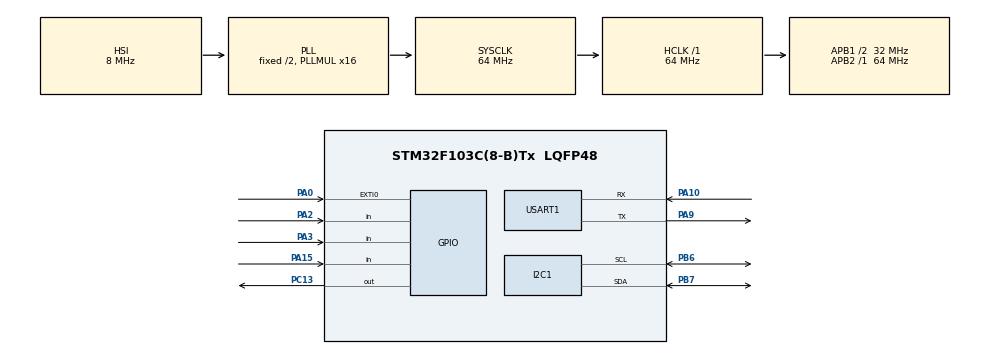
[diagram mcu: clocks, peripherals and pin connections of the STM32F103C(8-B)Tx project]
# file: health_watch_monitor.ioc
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FREERTOS.Mutexes01=i2cMutex,Dynamic,NULL,Available
FREERTOS.Tasks01=defaultTask,0,256,StartDefaultTask,Default,NULL,Dynamic,NULL,NULL;uiTask,0,512,StartTask02,Default,NULL,Dynamic,NULL,NULL;sensorTask,1,512,StartTask03,Default,NULL,Dynamic,NULL,NULL;bleTask,-1,512,StartTask04,Default,NULL,Dynamic,NULL,NULL;buttonTask,0,256,StartTask05,Default,NULL,Dynamic,NULL,NULL;powerTask,2,256,StartTask06,Default,NULL,Dynamic,NULL,NULL
FREERTOS.configMINIMAL_STACK_SIZE=256
FREERTOS.configTOTAL_HEAP_SIZE=16384
FREERTOS.configUSE_COUNTING_SEMAPHORES=1
FREERTOS.configUSE_TIMERS=1
Mcu.Family=STM32F1
Mcu.Name=STM32F103C(8-B)Tx
Mcu.Package=LQFP48
NVIC.EXTI0_IRQn=true\:5\:0\:false\:false\:true\:true\:true\:true\:true
NVIC.PriorityGroup=NVIC_PRIORITYGROUP_4
NVIC.TIM2_IRQn=true\:15\:0\:false\:false\:true\:false\:false\:true\:true
NVIC.TimeBase=TIM2_IRQn
NVIC.TimeBaseIP=TIM2
NVIC.USART1_IRQn=true\:5\:0\:false\:false\:true\:true\:true\:true\:true
PA0-WKUP.GPIO_ModeDefaultEXTI=GPIO_MODE_IT_FALLING
PA0-WKUP.GPIO_PuPd=GPIO_PULLUP
PA0-WKUP.Signal=GPXTI0
PA10.Mode=Asynchronous
PA10.Signal=USART1_RX
PA13.Mode=Serial_Wire
PA13.Signal=SYS_JTMS-SWDIO
PA14.Mode=Serial_Wire
PA14.Signal=SYS_JTCK-SWCLK
PA15.GPIO_PuPd=GPIO_PULLUP
PA15.Signal=GPIO_Input
PA2.GPIO_PuPd=GPIO_PULLUP
PA2.Signal=GPIO_Input
PA3.GPIO_PuPd=GPIO_PULLUP
PA3.Signal=GPIO_Input
PA9.Mode=Asynchronous
PA9.Signal=USART1_TX
PB6.Mode=I2C
PB6.Signal=I2C1_SCL
PB7.Mode=I2C
PB7.Signal=I2C1_SDA
PC13-TAMPER-RTC.Signal=GPIO_Output
ProjectManager.HeapSize=0x200
ProjectManager.StackSize=0x400
ProjectManager.TargetToolchain=STM32CubeIDE
RCC.AHBFreq_Value=64000000
RCC.APB1CLKDivider=RCC_HCLK_DIV2
RCC.APB1Freq_Value=32000000
RCC.APB1TimFreq_Value=64000000
RCC.APB2Freq_Value=64000000
RCC.APB2TimFreq_Value=64000000
RCC.HCLKFreq_Value=64000000
RCC.PLLMUL=RCC_PLL_MUL16
RCC.SYSCLKFreq_VALUE=64000000
RCC.SYSCLKSource=RCC_SYSCLKSOURCE_PLLCLK
RCC.USBFreq_Value=64000000
USART1.VirtualMode=VM_ASYNC
VP_FREERTOS_VS_CMSIS_V1.Mode=CMSIS_V1
VP_SYS_VS_tim2.Mode=TIM2
board=custom

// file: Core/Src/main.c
/* main.c — FreeRTOS task startup, peripheral init, battery reading */
#include "main.h"
#include "cmsis_os.h"
#include "task.h"

#include "sensor_data.h"
#include "button.h"
#include "ui_menu.h"
#include "power_manager.h"
#include "jdy31.h"
#include "mpu6050.h"
#include "max30102.h"
#include "heart_rate.h"
#include "spo2.h"
#include "step_counter.h"
#include "app_config.h"
#include "oled.h"
#include "sh1106.h"
#include <stdio.h>

/* Retarget printf ->UART1 (PA9=TX, 9600 baud) — connect CH340 RX to PA9 */
int __io_putchar(int ch)
{
#if APP_ENABLE_UART_DEBUG
    HAL_UART_Transmit(&huart1, (uint8_t *)&ch, 1, 10);
#endif
    return ch;
}

I2C_HandleTypeDef hi2c1;

UART_HandleTypeDef huart1;

osThreadId defaultTaskHandle;
osThreadId uiTaskHandle;
osThreadId sensorTaskHandle;
osThreadId bleTaskHandle;
osThreadId buttonTaskHandle;
osThreadId powerTaskHandle;
osMutexId i2cMutexHandle;

void SystemClock_Config(void);
static void MX_GPIO_Init(void);
static void MX_I2C1_Init(void);
static void MX_USART1_UART_Init(void);
void StartDefaultTask(void const * argument);
void StartTask02(void const * argument);
void StartTask03(void const * argument);
void StartTask04(void const * argument);
void StartTask05(void const * argument);
void StartTask06(void const * argument);

/* USER CODE BEGIN PFP */
static void     Batt_VREF_ADC_Init(void);
static uint8_t  Batt_VREF_ReadBars(void);
static BattChargeState_t Batt_TP4057_ReadCharge(void);
static void     Boot_I2C_Scan(void);
static void     Boot_OLED_SelfTest(void);
static void     Debug_LogTaskStackWatermarks(void);
/* USER CODE END PFP */

/* USER CODE BEGIN 0 */
/* Battery via internal VREF (ADC1 ch17): higher raw count = lower Vdd.
 * Thresholds defined in app_config.h (BATT_VREF_*_COUNTS).
 * TP4057 CHRG (PA5) LOW = charging, STDBY (PA6) LOW = charge complete. */
static void Batt_VREF_ADC_Init(void)
{
    /* PCLK2 = 64 MHz → /6 ≈ 10.7 MHz ADC clock (must be ≤14 MHz) */
    RCC->CFGR = (RCC->CFGR & ~(3u << 14u)) | (2u << 14u);
    /* Enable ADC1 clock */
    RCC->APB2ENR |= RCC_APB2ENR_ADC1EN;
    ADC1->CR2 = ADC_CR2_TSVREFE | ADC_CR2_ADON;
    for (volatile uint32_t d = 0; d < 500u; d++); /* tSTAB ≥1 µs */
    ADC1->CR2 |= ADC_CR2_RSTCAL;
    while (ADC1->CR2 & ADC_CR2_RSTCAL);
    ADC1->CR2 |= ADC_CR2_CAL;
    while (ADC1->CR2 & ADC_CR2_CAL);
    ADC1->SQR1  = 0u;
    ADC1->SQR3  = 17u;                /* channel 17 = internal VREF */
    ADC1->SMPR1 = ADC_SMPR1_SMP17;   /* 239.5-cycle sampling */
    ADC1->CR2 |= ADC_CR2_EXTTRIG | ADC_CR2_EXTSEL; /* SW trigger */

    /* TP4057 status pins PA5 (CHRG) and PA6 (STDBY) — input pull-up */
    GPIO_InitTypeDef g = {0};
    g.Pin  = TP4057_CHRG_PIN | TP4057_STDBY_PIN;
    g.Mode = GPIO_MODE_INPUT;
    g.Pull = GPIO_PULLUP;
    HAL_GPIO_Init(TP4057_CHRG_PORT, &g);
}

static uint8_t Batt_VREF_ReadBars(void)
{
    ADC1->SR &= ~ADC_SR_EOC;
    ADC1->CR2 |= ADC_CR2_SWSTART;
    uint32_t deadline = HAL_GetTick() + 3u;
    while (!(ADC1->SR & ADC_SR_EOC) && (HAL_GetTick() < deadline));
    if (!(ADC1->SR & ADC_SR_EOC)) return BATT_BARS_EMPTY;
    uint32_t raw = ADC1->DR & 0x0FFFu;
    /* Higher raw = lower Vdd */
    if (raw <= BATT_VREF_IDEAL_COUNTS)  return BATT_BARS_FULL;
    if (raw <= (BATT_VREF_IDEAL_COUNTS + (BATT_VREF_LOW_COUNTS - BATT_VREF_IDEAL_COUNTS) / 3u))
                                         return BATT_BARS_HIGH;
    if (raw <= (BATT_VREF_IDEAL_COUNTS + 2u * (BATT_VREF_LOW_COUNTS - BATT_VREF_IDEAL_COUNTS) / 3u))
                                         return BATT_BARS_MED;
    if (raw <= BATT_VREF_LOW_COUNTS)     return BATT_BARS_LOW;
    return BATT_BARS_EMPTY;
}

static BattChargeState_t Batt_TP4057_ReadCharge(void)
{
    bool chrg  = (HAL_GPIO_ReadPin(TP4057_CHRG_PORT,  TP4057_CHRG_PIN)  == GPIO_PIN_RESET);
    bool stdby = (HAL_GPIO_ReadPin(TP4057_STDBY_PORT, TP4057_STDBY_PIN) == GPIO_PIN_RESET);
    if (stdby)  return BATT_FULL;
    if (chrg)   return BATT_CHARGING;
    return BATT_DISCHARGING;
}

static void Boot_I2C_Scan(void)
{
  static const uint8_t expected[] = { 0x3C, 0x57, 0x68, 0x69 };
  bool seen[4] = { false, false, false, false };

  printf("[I2C] scan start\r\n");
  for (uint8_t addr = 1u; addr < 128u; addr++) {
    if (HAL_I2C_IsDeviceReady(&hi2c1, (uint16_t)(addr << 1), 2u, 5u) == HAL_OK) {
      printf("[I2C] found 0x%02X\r\n", (unsigned)addr);
      for (uint8_t i = 0u; i < 4u; i++) {
        if (addr == expected[i]) {
          seen[i] = true;
        }
      }
    }
  }

  printf("[I2C] OLED(0x3C): %s\r\n", seen[0] ? "OK" : "MISS");
  printf("[I2C] MAX30102(0x57): %s\r\n", seen[1] ? "OK" : "MISS");
  printf("[I2C] MPU6050(0x68/0x69): %s\r\n", (seen[2] || seen[3]) ? "OK" : "MISS");
}

static void Boot_OLED_SelfTest(void)
{
  if (SH1106_Init() != SH1106_OK) {
    printf("[OLED] init fail\r\n");
    return;
  }

  SH1106_Fill(1u);
  SH1106_Flush();
  HAL_Delay(180);
  SH1106_Clear();
  SH1106_Flush();
  HAL_Delay(120);
  printf("[OLED] self-test done\r\n");
}

static void Debug_LogTaskStackWatermarks(void)
{
#if APP_ENABLE_UART_DEBUG
  const UBaseType_t min_words = uxTaskGetStackHighWaterMark(NULL);
  const UBaseType_t ui_words = uxTaskGetStackHighWaterMark((TaskHandle_t)uiTaskHandle);
  const UBaseType_t sensor_words = uxTaskGetStackHighWaterMark((TaskHandle_t)sensorTaskHandle);
  const UBaseType_t ble_words = uxTaskGetStackHighWaterMark((TaskHandle_t)bleTaskHandle);
  const UBaseType_t button_words = uxTaskGetStackHighWaterMark((TaskHandle_t)buttonTaskHandle);
  const UBaseType_t power_words = uxTaskGetStackHighWaterMark((TaskHandle_t)powerTaskHandle);

  printf("[STACK] default=%luB ui=%luB sensor=%luB ble=%luB button=%luB power=%luB\r\n",
       (unsigned long)(min_words * sizeof(StackType_t)),
       (unsigned long)(ui_words * sizeof(StackType_t)),
       (unsigned long)(sensor_words * sizeof(StackType_t)),
       (unsigned long)(ble_words * sizeof(StackType_t)),
       (unsigned long)(button_words * sizeof(StackType_t)),
       (unsigned long)(power_words * sizeof(StackType_t)));
#endif
}
/* USER CODE END 0 */

int main(void)
{

  HAL_Init();

  SystemClock_Config();

  MX_GPIO_Init();
  MX_I2C1_Init();
  MX_USART1_UART_Init();
  /* USER CODE BEGIN 2 */
  Boot_I2C_Scan();
  Boot_OLED_SelfTest();
  Batt_VREF_ADC_Init();
  Sensor_Data_Init();
  /* USER CODE END 2 */

  osMutexDef(i2cMutex);
  i2cMutexHandle = osMutexCreate(osMutex(i2cMutex));

  osThreadDef(defaultTask, StartDefaultTask, osPriorityNormal,      0, 256);
  defaultTaskHandle  = osThreadCreate(osThread(defaultTask),  NULL);
  osThreadDef(uiTask,      StartTask02,      osPriorityNormal,      0, 512);
  uiTaskHandle       = osThreadCreate(osThread(uiTask),       NULL);
  osThreadDef(sensorTask,  StartTask03,      osPriorityAboveNormal, 0, 512);
  sensorTaskHandle   = osThreadCreate(osThread(sensorTask),   NULL);
  osThreadDef(bleTask,     StartTask04,      osPriorityBelowNormal, 0, 512);
  bleTaskHandle      = osThreadCreate(osThread(bleTask),      NULL);
  osThreadDef(buttonTask,  StartTask05,      osPriorityNormal,      0, 256);
  buttonTaskHandle   = osThreadCreate(osThread(buttonTask),   NULL);
  osThreadDef(powerTask,   StartTask06,      osPriorityHigh,        0, 256);
  powerTaskHandle    = osThreadCreate(osThread(powerTask),    NULL);

  osKernelStart();

  while (1) {}
}

void SystemClock_Config(void)
{
  RCC_OscInitTypeDef RCC_OscInitStruct = {0};
  RCC_ClkInitTypeDef RCC_ClkInitStruct = {0};
  RCC_OscInitStruct.OscillatorType = RCC_OSCILLATORTYPE_HSI;
  RCC_OscInitStruct.HSIState = RCC_HSI_ON;
  RCC_OscInitStruct.HSICalibrationValue = RCC_HSICALIBRATION_DEFAULT;
  RCC_OscInitStruct.PLL.PLLState = RCC_PLL_ON;
  RCC_OscInitStruct.PLL.PLLSource = RCC_PLLSOURCE_HSI_DIV2;
  RCC_OscInitStruct.PLL.PLLMUL = RCC_PLL_MUL16;
  if (HAL_RCC_OscConfig(&RCC_OscInitStruct) != HAL_OK) { Error_Handler(); }

  RCC_ClkInitStruct.ClockType = RCC_CLOCKTYPE_HCLK|RCC_CLOCKTYPE_SYSCLK
                              |RCC_CLOCKTYPE_PCLK1|RCC_CLOCKTYPE_PCLK2;
  RCC_ClkInitStruct.SYSCLKSource = RCC_SYSCLKSOURCE_PLLCLK;
  RCC_ClkInitStruct.AHBCLKDivider = RCC_SYSCLK_DIV1;
  RCC_ClkInitStruct.APB1CLKDivider = RCC_HCLK_DIV2;
  RCC_ClkInitStruct.APB2CLKDivider = RCC_HCLK_DIV1;

  if (HAL_RCC_ClockConfig(&RCC_ClkInitStruct, FLASH_LATENCY_2) != HAL_OK) { Error_Handler(); }
}

static void MX_I2C1_Init(void)
{
  hi2c1.Instance = I2C1;
  hi2c1.Init.ClockSpeed = 100000;  /* Standard mode — improves bus robustness */
  hi2c1.Init.DutyCycle = I2C_DUTYCYCLE_2;
  hi2c1.Init.OwnAddress1 = 0;
  hi2c1.Init.AddressingMode = I2C_ADDRESSINGMODE_7BIT;
  hi2c1.Init.DualAddressMode = I2C_DUALADDRESS_DISABLE;
  hi2c1.Init.OwnAddress2 = 0;
  hi2c1.Init.GeneralCallMode = I2C_GENERALCALL_DISABLE;
  hi2c1.Init.NoStretchMode = I2C_NOSTRETCH_DISABLE;
  if (HAL_I2C_Init(&hi2c1) != HAL_OK) { Error_Handler(); }
}

static void MX_USART1_UART_Init(void)
{
  huart1.Instance = USART1;
  huart1.Init.BaudRate = 9600;
  huart1.Init.WordLength = UART_WORDLENGTH_8B;
  huart1.Init.StopBits = UART_STOPBITS_1;
  huart1.Init.Parity = UART_PARITY_NONE;
  huart1.Init.Mode = UART_MODE_TX_RX;
  huart1.Init.HwFlowCtl = UART_HWCONTROL_NONE;
  huart1.Init.OverSampling = UART_OVERSAMPLING_16;
  if (HAL_UART_Init(&huart1) != HAL_OK) { Error_Handler(); }
}

static void MX_GPIO_Init(void)
{
  GPIO_InitTypeDef GPIO_InitStruct = {0};

  /* GPIO Ports Clock Enable */
  __HAL_RCC_GPIOC_CLK_ENABLE();
  __HAL_RCC_GPIOA_CLK_ENABLE();
  __HAL_RCC_GPIOB_CLK_ENABLE();

  /*Configure GPIO pin Output Level */
  HAL_GPIO_WritePin(GPIOC, GPIO_PIN_13, GPIO_PIN_RESET);

  /*Configure GPIO pin : PC13 */
  GPIO_InitStruct.Pin = GPIO_PIN_13;
  GPIO_InitStruct.Mode = GPIO_MODE_OUTPUT_PP;
  GPIO_InitStruct.Pull = GPIO_NOPULL;
  GPIO_InitStruct.Speed = GPIO_SPEED_FREQ_LOW;
  HAL_GPIO_Init(GPIOC, &GPIO_InitStruct);

  /*Configure GPIO pin : PA0 */
  GPIO_InitStruct.Pin = GPIO_PIN_0;
  GPIO_InitStruct.Mode = GPIO_MODE_IT_FALLING;
  GPIO_InitStruct.Pull = GPIO_PULLUP;
  HAL_GPIO_Init(GPIOA, &GPIO_InitStruct);

  /*Configure GPIO pins : PA2 PA3 PA15 */
  GPIO_InitStruct.Pin = GPIO_PIN_2|GPIO_PIN_3|GPIO_PIN_15;
  GPIO_InitStruct.Mode = GPIO_MODE_INPUT;
  GPIO_InitStruct.Pull = GPIO_PULLUP;
  HAL_GPIO_Init(GPIOA, &GPIO_InitStruct);

  /* EXTI interrupt init*/
  HAL_NVIC_SetPriority(EXTI0_IRQn, 5, 0);
  HAL_NVIC_EnableIRQ(EXTI0_IRQn);

}

/* USER CODE BEGIN 4 */

void HAL_GPIO_EXTI_Callback(uint16_t GPIO_Pin)
{
    if (GPIO_Pin == BTN_BACK_PIN) {
        Button_EXTI_Callback(); /* wake from sleep / notify power manager */
    }
}

void HAL_UART_RxCpltCallback(UART_HandleTypeDef *huart)
{
    if (huart->Instance == USART1) {
        JDY31_UartRxCplt();
    }
}

/* USER CODE END 4 */

void StartDefaultTask(void const * argument)
{
  /* USER CODE BEGIN 5 */
  (void)argument;
  uint8_t  half    = 0;
  uint16_t bat_cnt = 0;
  uint8_t  stack_cnt = 0;
  for(;;)
  {
    LED_TOGGLE();
    if (++half >= 2u) {
      half = 0;
      /* tick software clock every 1 s */
      SoftClock_t c = Sensor_Data_GetClock();
      if (++c.seconds >= 60u) { c.seconds = 0;
        if (++c.minutes >= 60u) { c.minutes = 0;
          if (++c.hours >= 24u) c.hours = 0;
        }
      }
      Sensor_Data_SetClock(c.hours, c.minutes, c.seconds);
      /* read battery every 30 s */
      if (++bat_cnt >= 30u) {
        bat_cnt = 0;
        uint8_t          bars   = Batt_VREF_ReadBars();
        BattChargeState_t charge = Batt_TP4057_ReadCharge();
        if (osMutexWait(xSensorDataMutex, 5) == osOK) {
          gSharedData.battery.bars   = bars;
          gSharedData.battery.charge = charge;
          osMutexRelease(xSensorDataMutex);
        }
      }

      if (++stack_cnt >= 10u) {
        stack_cnt = 0;
        Debug_LogTaskStackWatermarks();
      }
    }
    osDelay(500);
  }
  /* USER CODE END 5 */
}

void StartTask02(void const * argument)
{
  /* USER CODE BEGIN StartTask02 */
  UI_Task(argument);
  /* USER CODE END StartTask02 */
}

void StartTask03(void const * argument)
{
  /* USER CODE BEGIN StarItTask03 */
  (void)argument;
  TickType_t last_wake = xTaskGetTickCount();
  enum PPG_MODE_OFF;
  enum PPG_MODE_PASSIVE;
  enum PPG_MODE_ACTIVE;

  /* Wait for UI task to finish OLED init and show splash */
  osDelay(2000);

  /* Init sensors — brief mutex grabs, no long holds */
  osMutexWait(i2cMutexHandle, osWaitForever);
  MPU6050_Status_t  mpu_status = MPU6050_Init();
  osMutexRelease(i2cMutexHandle);

  osDelay(5);

  osMutexWait(i2cMutexHandle, osWaitForever);
  MAX30102_Status_t max_status = MAX30102_Init();
  if (max_status == MAX30102_OK) {
      MAX30102_FlushFIFO();
  }
  osMutexRelease(i2cMutexHandle);

  printf("[BOOT] MPU6050: %s (addr=0x%02X, whoami=0x%02X)\r\n",
      mpu_status == MPU6050_OK      ? "OK" :
      mpu_status == MPU6050_ERR_I2C ? "NOT FOUND on 0x68 or 0x69" : "ERR_WHOAMI",
      (unsigned)MPU6050_GetAddr(),
      (unsigned)MPU6050_GetWhoAmI());
  printf("[BOOT] MAX30102: %s\r\n",
      max_status == MAX30102_OK         ? "OK" :
      max_status == MAX30102_ERR_I2C    ? "NOT FOUND (check wiring)" : "ERR_PARTID");
  if (max_status == MAX30102_OK) {
      osMutexWait(i2cMutexHandle, osWaitForever);
      MAX30102_DumpRegs(); /* print mode/LED/FIFO registers to verify config */
      osMutexRelease(i2cMutexHandle);
  }

  /* Skip MPU calibration at boot — avoids holding I2C mutex for 1s.
   * Small accel bias is acceptable for step counting. */

  bool mpu_ok = (mpu_status == MPU6050_OK);
  bool max_ok = (max_status == MAX30102_OK);

  HR_Reset();
  SpO2_Reset();
  StepCounter_Reset();

  MAX30102_Sample_t fifo_buf[16];
  uint8_t  fifo_cnt  = 0;
  uint32_t loop_cnt  = 0u;
  uint32_t max_empty = 0u; /* consecutive empty FIFO reads — triggers reinit */
  uint32_t trend_tick = osKernelSysTick();
  uint32_t trend_last_steps = 0u;

  bool raise_wake_enabled = false;
  bool fall_detect_enabled = false;
  uint8_t wake_count = 0u;
  float prev_accel_mag = 1.0f;

  uint8_t fall_phase = 0u;      /* 0=idle, 1=freefall seen, 2=impact seen */
  uint8_t freefall_count = 0u;  /* consecutive samples below freefall threshold */
  uint32_t freefall_tick = 0u;
  uint32_t impact_tick = 0u;
  uint32_t still_start_tick = 0u;
  uint32_t last_fall_tick = 0u;
  bool pushup_peak = false;
  uint32_t last_pushup_tick = 0u;
  typedef enum {
    PPG_MODE_OFF = 0,
    PPG_MODE_PASSIVE,
    PPG_MODE_ACTIVE,
  } PpgMode_t;

  PpgMode_t ppg_mode = PPG_MODE_PASSIVE;
  PpgMode_t ppg_prev_mode = PPG_MODE_OFF;
  bool ppg_collect_enabled = false;
  bool ppg_workout_active = false;
  bool ppg_ui_active = false;
  uint32_t ppg_next_start_tick = osKernelSysTick();
  uint32_t ppg_window_end_tick = 0u;

  for (;;)
  {
      if (mpu_ok) {
          MPU6050_Data_t imu;
          osMutexWait(i2cMutexHandle, osWaitForever);
          bool imu_ok = (MPU6050_Read(&imu) == MPU6050_OK);
          osMutexRelease(i2cMutexHandle);

          if (imu_ok) {
            if (osMutexWait(xSensorDataMutex, 5u) == osOK) {
              raise_wake_enabled = gSharedData.settings.raise_to_wake;
              fall_detect_enabled = gSharedData.settings.fall_detect;
              osMutexRelease(xSensorDataMutex);
            }

              StepCounter_Update(imu.accel_g[0], imu.accel_g[1], imu.accel_g[2]);

              /* Workout session updates (separate counters from home daily steps). */
              {
                uint32_t total_steps = StepCounter_GetSteps();
                uint32_t now_tick = osKernelSysTick();
                const float PUSHUP_RELEASE_G = 1.10f;
                const uint32_t PUSHUP_MIN_INTERVAL_MS = 450u;

                if (osMutexWait(xSensorDataMutex, 5u) == osOK) {
                  if (gSharedData.workout.active) {
                    uint8_t mode = gSharedData.workout.mode;
                    if (mode == (uint8_t)WORKOUT_PUSHUPS) {
                      if (!pushup_peak &&
                          imu.accel_magnitude >= WORKOUT_PUSHUP_THRESH &&
                          (now_tick - last_pushup_tick) >= PUSHUP_MIN_INTERVAL_MS) {
                        pushup_peak = true;
                      }
                      if (pushup_peak && imu.accel_magnitude <= PUSHUP_RELEASE_G) {
                        pushup_peak = false;
                        gSharedData.workout.pushup_reps++;
                        last_pushup_tick = now_tick;
                      }
                    } else {
                      pushup_peak = false;
                      uint32_t base = gSharedData.workout.start_total_steps;
                      gSharedData.workout.session_steps =
                          (total_steps >= base) ? (total_steps - base) : 0u;
                    }
                  } else {
                    pushup_peak = false;
                  }
                  osMutexRelease(xSensorDataMutex);
                }
              }

            /* Raise-to-wake: detect a wrist-raise movement while display is sleeping. */
            {
              const float WAKE_DELTA_MIN = (MPU6050_WAKE_THRESH * 0.55f);
              const float WAKE_AXIS_Y_MIN = 0.20f;
              const float WAKE_AXIS_Z_MIN = 0.65f;

              float mag = imu.accel_magnitude;
              float delta = mag - prev_accel_mag;
              float ay = imu.accel_g[1];
              float az = imu.accel_g[2];
              if (delta < 0.0f) delta = -delta;
              if (ay < 0.0f) ay = -ay;
              if (az < 0.0f) az = -az;
              prev_accel_mag = mag;

                if (raise_wake_enabled && Power_GetState() == POWER_SLEEP) {
                  if ((delta >= WAKE_DELTA_MIN) && ((ay >= WAKE_AXIS_Y_MIN) || (az >= WAKE_AXIS_Z_MIN))) {
                    if (wake_count < 255u) wake_count++;
                } else {
                    if (wake_count > 0u) wake_count--;
                }

                if (wake_count >= MPU6050_WAKE_COUNT) {
                  wake_count = 0u;
                  Power_PostEvent(POWER_EVT_WRIST_RAISE, false);
                }
              } else {
                wake_count = 0u;
              }
            }

            /* Conservative fall detection (to reduce false positives):
             * free-fall (<0.45g) -> impact (>2.2g) within 0.9s -> stillness around 1g for 1.2s. */
            {
              const float FALL_FREEFALL_G = 0.45f;
              const float FALL_IMPACT_G = 2.20f;
              const float FALL_STILL_BAND_G = 0.18f;
              const uint8_t FALL_FREEFALL_MIN_COUNT = 3u; /* reject single-sample glitches */
              const uint32_t FREEFALL_TO_IMPACT_MS = 900u;
              const uint32_t STILLNESS_CONFIRM_MS = 1200u;
              const uint32_t IMPACT_TIMEOUT_MS = 4000u;
              const uint32_t FALL_COOLDOWN_MS = 10000u;

              uint32_t now_tick = osKernelSysTick();
              float mag = imu.accel_magnitude;
              float dev_from_1g = mag - 1.0f;
              if (dev_from_1g < 0.0f) dev_from_1g = -dev_from_1g;

              if (!fall_detect_enabled) {
                fall_phase = 0u;
                still_start_tick = 0u;
                freefall_count = 0u;
              } else if ((now_tick - last_fall_tick) >= FALL_COOLDOWN_MS) {
                if (fall_phase == 0u) {
                  if (mag < FALL_FREEFALL_G) {
                    if (freefall_count == 0u) {
                      freefall_tick = now_tick;
                    }
                    if (freefall_count < 255u) {
                      freefall_count++;
                    }
                    if (freefall_count >= FALL_FREEFALL_MIN_COUNT) {
                      fall_phase = 1u;
                      /* freefall_tick remains the time freefall started (1st low-g sample) */
                    }
                  } else {
                    freefall_count = 0u;
                  }
                } else if (fall_phase == 1u) {
                  if ((now_tick - freefall_tick) > FREEFALL_TO_IMPACT_MS) {
                    fall_phase = 0u;
                    freefall_count = 0u;
                  } else if (mag > FALL_IMPACT_G) {
                    fall_phase = 2u;
                    impact_tick = now_tick;
                    still_start_tick = 0u;
                    freefall_count = 0u;
                  }
                } else {
                  if ((now_tick - impact_tick) > IMPACT_TIMEOUT_MS) {
                    fall_phase = 0u;
                    still_start_tick = 0u;
                    freefall_count = 0u;
                  } else if (dev_from_1g <= FALL_STILL_BAND_G) {
                    if (still_start_tick == 0u) {
                      still_start_tick = now_tick;
                    } else if ((now_tick - still_start_tick) >= STILLNESS_CONFIRM_MS) {
                      fall_phase = 0u;
                      still_start_tick = 0u;
                      freefall_count = 0u;
                      last_fall_tick = now_tick;
                      if (osMutexWait(xSensorDataMutex, 5u) == osOK) {
                        gSharedData.motion.fall_detected = true;
                        gSharedData.motion.last_fall_tick = now_tick;
                        osMutexRelease(xSensorDataMutex);
                      }
                      Power_PostEvent(POWER_EVT_WRIST_RAISE, false);
                    }
                  } else {
                    still_start_tick = 0u;
                  }
                }
              }
            }

              if ((loop_cnt % 10u) == 0u) {
                  int activity = StepCounter_GetActivityState();
                  if (osMutexWait(xSensorDataMutex, 5u) == osOK) {
                      gSharedData.motion.steps         = StepCounter_GetSteps();
                      gSharedData.motion.distance_m    = StepCounter_GetDistance();
                      gSharedData.motion.calories_kcal = StepCounter_GetCalories();
                      gSharedData.motion.activity      = (ActivityState_t)activity;
                      gSharedData.motion.status        = SENSOR_OK;
                gSharedData.motion.last_update_tick = osKernelSysTick();
                      osMutexRelease(xSensorDataMutex);
                  }
              }
          } else {
              if (gSharedData.motion.status != SENSOR_FAULT) {
                  if (osMutexWait(xSensorDataMutex, 5u) == osOK) {
                      gSharedData.motion.status = SENSOR_FAULT;
                      osMutexRelease(xSensorDataMutex);
                  }
              }
          }
      }

          if (osMutexWait(xSensorDataMutex, 5u) == osOK) {
            ppg_workout_active = gSharedData.workout.active;
            ppg_ui_active = gSharedData.settings.ppg_force_active;
            osMutexRelease(xSensorDataMutex);
          }

        {
          uint32_t now_tick = osKernelSysTick();
          if (Power_GetState() == POWER_SLEEP) {
            ppg_mode = PPG_MODE_OFF;
            } else if (ppg_workout_active || ppg_ui_active) {
            ppg_mode = PPG_MODE_ACTIVE;
          } else {
            ppg_mode = PPG_MODE_PASSIVE;
          }

          if (ppg_mode != ppg_prev_mode) {
            if (ppg_mode == PPG_MODE_OFF) {
              ppg_collect_enabled = false;
              ppg_window_end_tick = 0u;
            } else if (ppg_mode == PPG_MODE_ACTIVE) {
              ppg_collect_enabled = true;
              osMutexWait(i2cMutexHandle, osWaitForever);
              MAX30102_FlushFIFO();
              osMutexRelease(i2cMutexHandle);
              HR_Reset();
              SpO2_Reset();
            } else {
              ppg_collect_enabled = false;
              ppg_next_start_tick = now_tick;
              ppg_window_end_tick = 0u;
            }
            ppg_prev_mode = ppg_mode;
          }

          if (ppg_mode == PPG_MODE_PASSIVE) {
            if (!ppg_collect_enabled && (now_tick >= ppg_next_start_tick)) {
              ppg_collect_enabled = true;
              ppg_window_end_tick = now_tick + PPG_PASSIVE_WINDOW_MS;
              osMutexWait(i2cMutexHandle, osWaitForever);
              MAX30102_FlushFIFO();
              osMutexRelease(i2cMutexHandle);
              HR_Reset();
              SpO2_Reset();
            }

            if (ppg_collect_enabled && (now_tick >= ppg_window_end_tick)) {
              ppg_collect_enabled = false;
              ppg_next_start_tick = now_tick + PPG_PASSIVE_PERIOD_MS;
            }
          }

          if (ppg_mode == PPG_MODE_OFF) {
            ppg_collect_enabled = false;
            ppg_window_end_tick = 0u;
          }
        }

        if (max_ok && ppg_collect_enabled) {
          osMutexWait(i2cMutexHandle, osWaitForever);
          MAX30102_Status_t fs = MAX30102_ReadFIFO(fifo_buf, 16, &fifo_cnt);
          osMutexRelease(i2cMutexHandle);

          /* Print raw FIFO data every 2 s (200 loops) to diagnose IR=0 */
          if ((loop_cnt % 200u) == 1u) {
              osMutexWait(i2cMutexHandle, osWaitForever);
              MAX30102_DumpRegs();
              osMutexRelease(i2cMutexHandle);
              printf("[MAX-FIFO] fs=%u cnt=%u ir0=%lu red0=%lu\r\n",
                  (unsigned)fs, (unsigned)fifo_cnt,
                  fifo_cnt ? (unsigned long)fifo_buf[0].ir  : 0UL,
                  fifo_cnt ? (unsigned long)fifo_buf[0].red : 0UL);
          }

          if (fs == MAX30102_OK && fifo_cnt > 0) {
              max_empty = 0u;
              for (uint8_t s = 0; s < fifo_cnt; s++) {
                  HR_AddSample(fifo_buf[s].ir);
                  SpO2_AddSample(fifo_buf[s].red, fifo_buf[s].ir);
              }
              if ((loop_cnt % 50u) == 0u) {
                  uint16_t bpm  = 0;
                  uint8_t  spo2 = 0;
                  bool hr_valid   = HR_GetBPM(&bpm);
                  bool spo2_valid = SpO2_GetValue(&spo2);
                  bool finger     = HR_FingerPresent();
                  bool tach, brad;
                  HR_GetAlertStatus(&tach, &brad);

                    if (!finger && ppg_mode == PPG_MODE_PASSIVE) {
                      ppg_collect_enabled = false;
                      ppg_next_start_tick = osKernelSysTick() + (PPG_PASSIVE_PERIOD_MS * 2u);
                    }

                  if (osMutexWait(xSensorDataMutex, 5u) == osOK) {
                      gSharedData.heart.bpm         = hr_valid   ? bpm  : 0u;
                      gSharedData.heart.spo2        = spo2_valid ? spo2 : 0u;
                      gSharedData.heart.hr_status   = finger ? (hr_valid   ? SENSOR_OK : SENSOR_INIT) : SENSOR_NO_FINGER;
                      gSharedData.heart.spo2_status = finger ? (spo2_valid ? SENSOR_OK : SENSOR_INIT) : SENSOR_NO_FINGER;
                      gSharedData.heart.hr_alert    = tach || brad;
                      gSharedData.heart.spo2_alert  = SpO2_IsLowAlert();
                      osMutexRelease(xSensorDataMutex);
                  }
              }
          } else {
              /* FIFO empty or I2C error: chip may be in power-down, reinit after 5s */
              if (++max_empty >= 500u) {
                  max_empty = 0u;
                  printf("[MAX] FIFO stuck, reinit...\r\n");
                  osMutexWait(i2cMutexHandle, osWaitForever);
                  max_status = MAX30102_Init();
                  if (max_status == MAX30102_OK) MAX30102_FlushFIFO();
                  MAX30102_DumpRegs();
                  osMutexRelease(i2cMutexHandle);
                  max_ok = (max_status == MAX30102_OK);
              }
          }
              } else if (!ppg_collect_enabled) {
                max_empty = 0u;
      }

      loop_cnt++;

        /* Every 1 s: push rolling trend points for statistics page */
        {
          uint32_t now = osKernelSysTick();
          if ((now - trend_tick) >= 1000u) {
            trend_tick = now;

            uint32_t steps_now = StepCounter_GetSteps();
            uint32_t step_delta = (steps_now >= trend_last_steps) ?
                      (steps_now - trend_last_steps) : 0u;
            trend_last_steps = steps_now;

            int act = StepCounter_GetActivityState();
            uint32_t spm = step_delta * 60u;
            if (spm > 255u) spm = 255u;

            if (osMutexWait(xSensorDataMutex, 5u) == osOK) {
              uint8_t idx = gSharedData.stats.trend_head;

              gSharedData.stats.trend_hr[idx] =
                (gSharedData.heart.hr_status == SENSOR_OK && gSharedData.heart.bpm > 0u)
                ? (uint8_t)((gSharedData.heart.bpm > 255u) ? 255u : gSharedData.heart.bpm)
                : 0u;

              gSharedData.stats.trend_spo2[idx] =
                (gSharedData.heart.spo2_status == SENSOR_OK && gSharedData.heart.spo2 > 0u)
                ? gSharedData.heart.spo2 : 0u;

              gSharedData.stats.trend_walk[idx] = (act == ACTIVITY_WALKING) ? (uint8_t)spm : 0u;
              gSharedData.stats.trend_run[idx]  = (act == ACTIVITY_RUNNING) ? (uint8_t)spm : 0u;

              idx = (uint8_t)((idx + 1u) % STATS_TREND_POINTS);
              gSharedData.stats.trend_head = idx;
              if (gSharedData.stats.trend_count < STATS_TREND_POINTS) {
                gSharedData.stats.trend_count++;
              }

              osMutexRelease(xSensorDataMutex);
            }
          }
        }

      /* Every 5 s: print live sensor values over UART for debugging */
      if ((loop_cnt % 500u) == 0u) {
          if (mpu_ok) {
              MPU6050_Data_t d;
              osMutexWait(i2cMutexHandle, osWaitForever);
              MPU6050_Read(&d);
              osMutexRelease(i2cMutexHandle);
              printf("[MPU] ax=%d ay=%d az=%d steps=%lu (mg)\r\n",
                  (int)(d.accel_g[0]*1000), (int)(d.accel_g[1]*1000), (int)(d.accel_g[2]*1000),
                  (unsigned long)StepCounter_GetSteps());
          } else {
              printf("[MPU] not connected\r\n");
          }
          if (max_ok) {
              printf("[MAX] HR=%u bpm  SpO2=%u%%  finger=%s  IR=%lu\r\n",
                  (unsigned)gSharedData.heart.bpm,
                  (unsigned)gSharedData.heart.spo2,
                  HR_FingerPresent() ? "YES" : "NO",
                  (unsigned long)HR_GetLastIR());
          } else {
              printf("[MAX] not connected\r\n");
          }
      }
      vTaskDelayUntil(&last_wake, pdMS_TO_TICKS(10)); /* 100 Hz */
  }
  /* USER CODE END StartTask03 */
}

void StartTask04(void const * argument)
{
  /* USER CODE BEGIN StartTask04 */
  (void)argument;
  TickType_t last_wake = xTaskGetTickCount();
  if (JDY31_Init() != JDY31_OK) {
    printf("[BLE] JDY31 init failed\r\n");
  } else {
    printf("[BLE] JDY31 init OK\r\n");
  }

  bool prev_ble_enabled = true;
  if (osMutexWait(xSensorDataMutex, 5u) == osOK) {
    prev_ble_enabled = gSharedData.ble.enabled;
    osMutexRelease(xSensorDataMutex);
  }
  if (prev_ble_enabled) {
    JDY31_SendStr("HW BLE READY\r\n");
  }

  uint32_t last_pkt_tick = osKernelSysTick();
  bool last_conn = false;
  char line[64];

  for(;;)
  {
      bool ble_enabled = true;
      if (osMutexWait(xSensorDataMutex, 5u) == osOK) {
        ble_enabled = gSharedData.ble.enabled;
        osMutexRelease(xSensorDataMutex);
      }

      /* Apply state transitions to the JDY module (best-effort). */
      if (ble_enabled != prev_ble_enabled) {
        (void)JDY31_SetEnabled(ble_enabled);
        if (ble_enabled) {
          JDY31_SendStr("HW BLE READY\r\n");
        }
        prev_ble_enabled = ble_enabled;
      }

      if (!ble_enabled) {
        if (osMutexWait(xSensorDataMutex, 5u) == osOK) {
          gSharedData.ble.connected = false;
          gSharedData.ble.buffered_count = 0u;
          osMutexRelease(xSensorDataMutex);
        }
        last_conn = false;
        vTaskDelayUntil(&last_wake, pdMS_TO_TICKS(100));
        continue;
      }

    bool connected = JDY31_IsConnected();
    if (connected != last_conn) {
      printf("[BLE] %s\r\n", connected ? "CONNECTED" : "DISCONNECTED");
      last_conn = connected;
    }

    if (osMutexWait(xSensorDataMutex, 5u) == osOK) {
      gSharedData.ble.connected = connected;
      gSharedData.ble.buffered_count = 0u;
      osMutexRelease(xSensorDataMutex);
    }

    while (JDY31_ReadLine(line, sizeof(line)) > 0u) {
      BleCommand_t cmd;
      BleCommandType_t type = JDY31_ParseCommand(line, &cmd);

      switch (type) {
      case BLE_CMD_SYNC_TIME: {
        uint32_t t = cmd.param % 86400u;
        uint8_t h = (uint8_t)(t / 3600u);
        uint8_t m = (uint8_t)((t % 3600u) / 60u);
        uint8_t s = (uint8_t)(t % 60u);
        Sensor_Data_SetClock(h, m, s);
        JDY31_SendStr("OK\r\n");
        break;
      }
      case BLE_CMD_RESET_STEPS:
        StepCounter_Reset();
        if (osMutexWait(xSensorDataMutex, 5u) == osOK) {
          gSharedData.motion.steps = 0u;
          gSharedData.motion.distance_m = 0.0f;
          gSharedData.motion.calories_kcal = 0.0f;
          osMutexRelease(xSensorDataMutex);
        }
        JDY31_SendStr("OK\r\n");
        break;
      case BLE_CMD_GET_DATA:
      {
        BlePacket_t pkt = {0};
        SoftClock_t clk = Sensor_Data_GetClock();
        if (osMutexWait(xSensorDataMutex, 5u) == osOK) {
          pkt.bpm   = gSharedData.heart.bpm;
          pkt.spo2  = gSharedData.heart.spo2;
          pkt.steps = gSharedData.motion.steps;
          osMutexRelease(xSensorDataMutex);
        }
        pkt.hh = clk.hours;
        pkt.mm = clk.minutes;
        JDY31_SendPacket(&pkt);
        break;
      }
      case BLE_CMD_UNKNOWN:
        JDY31_SendStr("ERR:UNKNOWN_CMD\r\n");
        break;
      default:
        break;
      }
    }

    uint32_t now = osKernelSysTick();
    /* Send periodic packets whenever Bluetooth feature is enabled.
     * Relying on RX activity to infer 'connected' can stop updates if the phone
     * app is passive (receives only). Sending anyway is safe; if no phone is
     * connected, the module will just drop/ignore the UART payload.
     */
    if (((now - last_pkt_tick) >= BLE_PACKET_INTERVAL_MS)) {
      BlePacket_t pkt = {0};
      SoftClock_t clk = Sensor_Data_GetClock();
      if (osMutexWait(xSensorDataMutex, 5u) == osOK) {
        pkt.bpm   = gSharedData.heart.bpm;
        pkt.spo2  = gSharedData.heart.spo2;
        pkt.steps = gSharedData.motion.steps;
        osMutexRelease(xSensorDataMutex);
      }
      pkt.hh = clk.hours;
      pkt.mm = clk.minutes;

      JDY31_SendPacket(&pkt);
      last_pkt_tick = now;
    }

    vTaskDelayUntil(&last_wake, pdMS_TO_TICKS(100));
  }
  /* USER CODE END StartTask04 */
}

void StartTask05(void const * argument)
{
  /* USER CODE BEGIN StartTask05 */
  Button_Task(argument);
  /* USER CODE END StartTask05 */
}

void StartTask06(void const * argument)
{
  /* USER CODE BEGIN StartTask06 */
  Power_Task(argument);
  /* USER CODE END StartTask06 */
}

void HAL_TIM_PeriodElapsedCallback(TIM_HandleTypeDef *htim)
{
  if (htim->Instance == TIM2) { HAL_IncTick(); }
}

void Error_Handler(void)
{
  __disable_irq();
  while (1) {}
}

#ifdef USE_FULL_ASSERT
void assert_failed(uint8_t *file, uint32_t line)
{
  /* USER CODE BEGIN 6 */
  (void)file; (void)line;
  /* USER CODE END 6 */
}
#endif

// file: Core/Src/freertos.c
/* USER CODE BEGIN Header */
/**
  ******************************************************************************
  * File Name          : freertos.c
  * Description        : Code for freertos applications
  ******************************************************************************
  * @attention
  *
  * Copyright (c) 2026 STMicroelectronics.
  * All rights reserved.
  *
  * This software is licensed under terms that can be found in the LICENSE file
  * in the root directory of this software component.
  * If no LICENSE file comes with this software, it is provided AS-IS.
  *
  ******************************************************************************
  */
/* USER CODE END Header */

#include "FreeRTOS.h"
#include "task.h"
#include "main.h"

/* GetIdleTaskMemory prototype (linked to static allocation support) */
void vApplicationGetIdleTaskMemory( StaticTask_t **ppxIdleTaskTCBBuffer, StackType_t **ppxIdleTaskStackBuffer, uint32_t *pulIdleTaskStackSize );

/* GetTimerTaskMemory prototype (linked to static allocation support) */
void vApplicationGetTimerTaskMemory( StaticTask_t **ppxTimerTaskTCBBuffer, StackType_t **ppxTimerTaskStackBuffer, uint32_t *pulTimerTaskStackSize );

/* USER CODE BEGIN GET_IDLE_TASK_MEMORY */
static StaticTask_t xIdleTaskTCBBuffer;
static StackType_t xIdleStack[configMINIMAL_STACK_SIZE];

void vApplicationGetIdleTaskMemory( StaticTask_t **ppxIdleTaskTCBBuffer, StackType_t **ppxIdleTaskStackBuffer, uint32_t *pulIdleTaskStackSize )
{
  *ppxIdleTaskTCBBuffer = &xIdleTaskTCBBuffer;
  *ppxIdleTaskStackBuffer = &xIdleStack[0];
  *pulIdleTaskStackSize = configMINIMAL_STACK_SIZE;
  /* place for user code */
}
/* USER CODE END GET_IDLE_TASK_MEMORY */

/* USER CODE BEGIN GET_TIMER_TASK_MEMORY */
static StaticTask_t xTimerTaskTCBBuffer;
static StackType_t xTimerStack[configTIMER_TASK_STACK_DEPTH];

void vApplicationGetTimerTaskMemory( StaticTask_t **ppxTimerTaskTCBBuffer, StackType_t **ppxTimerTaskStackBuffer, uint32_t *pulTimerTaskStackSize )
{
  *ppxTimerTaskTCBBuffer = &xTimerTaskTCBBuffer;
  *ppxTimerTaskStackBuffer = &xTimerStack[0];
  *pulTimerTaskStackSize = configTIMER_TASK_STACK_DEPTH;
  /* place for user code */
}
/* USER CODE END GET_TIMER_TASK_MEMORY */

/* USER CODE BEGIN Application */

void vApplicationMallocFailedHook(void)
{
  taskDISABLE_INTERRUPTS();
  for (;;) {}
}

void vApplicationStackOverflowHook(TaskHandle_t xTask, char *pcTaskName)
{
  (void)xTask;
  (void)pcTaskName;
  taskDISABLE_INTERRUPTS();
  for (;;) {}
}

/* USER CODE END Application */
